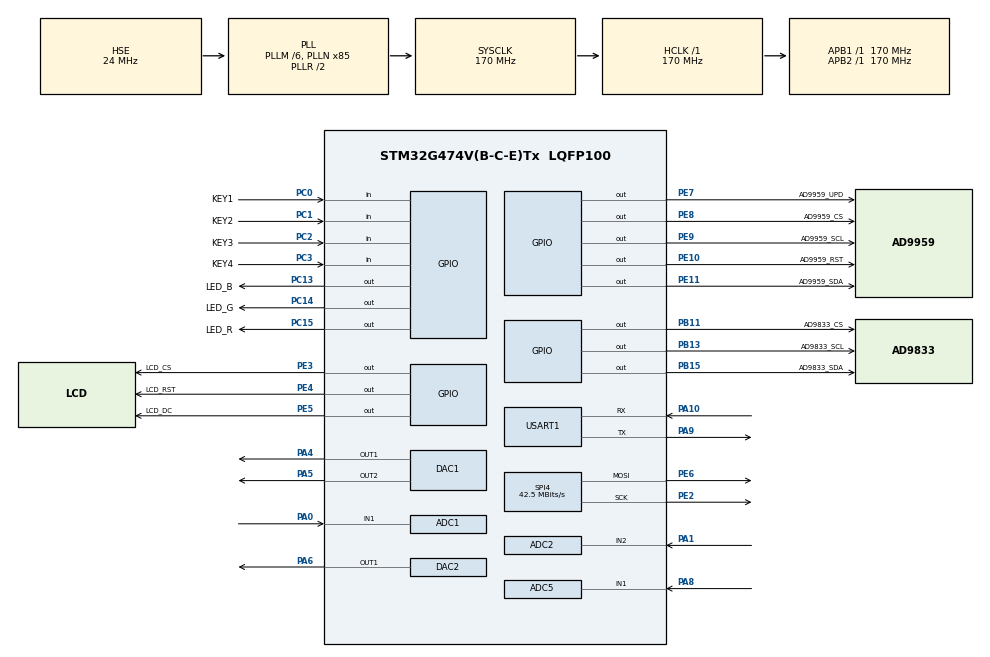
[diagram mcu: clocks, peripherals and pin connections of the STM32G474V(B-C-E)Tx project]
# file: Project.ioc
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ADC1.Channel-0\#ChannelRegularConversion=ADC_CHANNEL_1
ADC1.DMAAccessModeView=ENABLE
ADC1.ExternalTrigConv=ADC_EXTERNALTRIG_T6_TRGO
ADC1.Mode=ADC_DUALMODE_REGSIMULT
ADC1.NbrOfConversionFlag=1
ADC1.OffsetNumber-0\#ChannelRegularConversion=ADC_OFFSET_NONE
ADC1.Rank-0\#ChannelRegularConversion=1
ADC1.SamplingTime-0\#ChannelRegularConversion=ADC_SAMPLETIME_2CYCLES_5
ADC1.master=1
ADC2.Channel-0\#ChannelRegularConversion=ADC_CHANNEL_2
ADC2.DMAAccessModeView=ENABLE
ADC2.Mode=ADC_DUALMODE_REGSIMULT
ADC2.NbrOfConversionFlag=1
ADC2.OffsetNumber-0\#ChannelRegularConversion=ADC_OFFSET_NONE
ADC2.Rank-0\#ChannelRegularConversion=1
ADC2.SamplingTime-0\#ChannelRegularConversion=ADC_SAMPLETIME_2CYCLES_5
ADC5.Channel-0\#ChannelRegularConversion=ADC_CHANNEL_1
ADC5.ExternalTrigConv=ADC_EXTERNALTRIG_T6_TRGO
ADC5.NbrOfConversionFlag=1
ADC5.OffsetNumber-0\#ChannelRegularConversion=ADC_OFFSET_NONE
ADC5.Rank-0\#ChannelRegularConversion=1
ADC5.SamplingTime-0\#ChannelRegularConversion=ADC_SAMPLETIME_2CYCLES_5
DAC1.DAC_Channel-DAC_OUT2=DAC_CHANNEL_2
DAC1.DAC_Trigger_OUT1-DAC_OUT1=DAC_TRIGGER_T7_TRGO
DAC1.DAC_Trigger_OUT2-DAC_OUT2=DAC_TRIGGER_T7_TRGO
DAC2.DAC_Trigger_OUT1-DAC_OUT1=DAC_TRIGGER_T7_TRGO
Dma.ADC1.3.Direction=DMA_PERIPH_TO_MEMORY
Dma.ADC1.3.EventEnable=DISABLE
Dma.ADC1.3.Instance=DMA1_Channel3
Dma.ADC1.3.MemDataAlignment=DMA_MDATAALIGN_WORD
Dma.ADC1.3.MemInc=DMA_MINC_ENABLE
Dma.ADC1.3.Mode=DMA_CIRCULAR
Dma.ADC1.3.PeriphDataAlignment=DMA_PDATAALIGN_WORD
Dma.ADC1.3.PeriphInc=DMA_PINC_DISABLE
Dma.ADC1.3.Polarity=HAL_DMAMUX_REQ_GEN_RISING
Dma.ADC1.3.Priority=DMA_PRIORITY_LOW
Dma.ADC1.3.RequestNumber=1
Dma.ADC1.3.SignalID=NONE
Dma.ADC1.3.SyncEnable=DISABLE
Dma.ADC1.3.SyncPolarity=HAL_DMAMUX_SYNC_NO_EVENT
Dma.ADC1.3.SyncRequestNumber=1
Dma.ADC1.3.SyncSignalID=NONE
Dma.ADC5.4.Direction=DMA_PERIPH_TO_MEMORY
Dma.ADC5.4.EventEnable=DISABLE
Dma.ADC5.4.Instance=DMA1_Channel4
Dma.ADC5.4.MemDataAlignment=DMA_MDATAALIGN_HALFWORD
Dma.ADC5.4.MemInc=DMA_MINC_ENABLE
Dma.ADC5.4.Mode=DMA_CIRCULAR
Dma.ADC5.4.PeriphDataAlignment=DMA_PDATAALIGN_HALFWORD
Dma.ADC5.4.PeriphInc=DMA_PINC_DISABLE
Dma.ADC5.4.Polarity=HAL_DMAMUX_REQ_GEN_RISING
Dma.ADC5.4.Priority=DMA_PRIORITY_LOW
Dma.ADC5.4.RequestNumber=1
Dma.ADC5.4.SignalID=NONE
Dma.ADC5.4.SyncEnable=DISABLE
Dma.ADC5.4.SyncPolarity=HAL_DMAMUX_SYNC_NO_EVENT
Dma.ADC5.4.SyncRequestNumber=1
Dma.ADC5.4.SyncSignalID=NONE
Dma.DAC1_CH1.5.Direction=DMA_MEMORY_TO_PERIPH
Dma.DAC1_CH1.5.EventEnable=DISABLE
Dma.DAC1_CH1.5.Instance=DMA1_Channel5
Dma.DAC1_CH1.5.MemDataAlignment=DMA_MDATAALIGN_WORD
Dma.DAC1_CH1.5.MemInc=DMA_MINC_ENABLE
Dma.DAC1_CH1.5.Mode=DMA_CIRCULAR
Dma.DAC1_CH1.5.PeriphDataAlignment=DMA_PDATAALIGN_WORD
Dma.DAC1_CH1.5.PeriphInc=DMA_PINC_DISABLE
Dma.DAC1_CH1.5.Polarity=HAL_DMAMUX_REQ_GEN_RISING
Dma.DAC1_CH1.5.Priority=DMA_PRIORITY_LOW
Dma.DAC1_CH1.5.RequestNumber=1
Dma.DAC1_CH1.5.SignalID=NONE
Dma.DAC1_CH1.5.SyncEnable=DISABLE
Dma.DAC1_CH1.5.SyncPolarity=HAL_DMAMUX_SYNC_NO_EVENT
Dma.DAC1_CH1.5.SyncRequestNumber=1
Dma.DAC1_CH1.5.SyncSignalID=NONE
Dma.DAC2_CH1.6.Direction=DMA_MEMORY_TO_PERIPH
Dma.DAC2_CH1.6.EventEnable=DISABLE
Dma.DAC2_CH1.6.Instance=DMA1_Channel6
Dma.DAC2_CH1.6.MemDataAlignment=DMA_MDATAALIGN_HALFWORD
Dma.DAC2_CH1.6.MemInc=DMA_MINC_ENABLE
Dma.DAC2_CH1.6.Mode=DMA_CIRCULAR
Dma.DAC2_CH1.6.PeriphDataAlignment=DMA_PDATAALIGN_WORD
Dma.DAC2_CH1.6.PeriphInc=DMA_PINC_DISABLE
Dma.DAC2_CH1.6.Polarity=HAL_DMAMUX_REQ_GEN_RISING
Dma.DAC2_CH1.6.Priority=DMA_PRIORITY_LOW
Dma.DAC2_CH1.6.RequestNumber=1
Dma.DAC2_CH1.6.SignalID=NONE
Dma.DAC2_CH1.6.SyncEnable=DISABLE
Dma.DAC2_CH1.6.SyncPolarity=HAL_DMAMUX_SYNC_NO_EVENT
Dma.DAC2_CH1.6.SyncRequestNumber=1
Dma.DAC2_CH1.6.SyncSignalID=NONE
Dma.Request0=USART1_TX
Dma.Request1=USART1_RX
Dma.Request2=SPI4_TX
Dma.Request3=ADC1
Dma.Request4=ADC5
Dma.Request5=DAC1_CH1
Dma.Request6=DAC2_CH1
Dma.SPI4_TX.2.Direction=DMA_MEMORY_TO_PERIPH
Dma.SPI4_TX.2.EventEnable=DISABLE
Dma.SPI4_TX.2.Instance=DMA2_Channel1
Dma.SPI4_TX.2.MemDataAlignment=DMA_MDATAALIGN_BYTE
Dma.SPI4_TX.2.MemInc=DMA_MINC_ENABLE
Dma.SPI4_TX.2.Mode=DMA_NORMAL
Dma.SPI4_TX.2.PeriphDataAlignment=DMA_PDATAALIGN_BYTE
Dma.SPI4_TX.2.PeriphInc=DMA_PINC_DISABLE
Dma.SPI4_TX.2.Polarity=HAL_DMAMUX_REQ_GEN_RISING
Dma.SPI4_TX.2.Priority=DMA_PRIORITY_LOW
Dma.SPI4_TX.2.RequestNumber=1
Dma.SPI4_TX.2.SignalID=NONE
Dma.SPI4_TX.2.SyncEnable=DISABLE
Dma.SPI4_TX.2.SyncPolarity=HAL_DMAMUX_SYNC_NO_EVENT
Dma.SPI4_TX.2.SyncRequestNumber=1
Dma.SPI4_TX.2.SyncSignalID=NONE
Dma.USART1_RX.1.Direction=DMA_PERIPH_TO_MEMORY
Dma.USART1_RX.1.EventEnable=DISABLE
Dma.USART1_RX.1.Instance=DMA1_Channel2
Dma.USART1_RX.1.MemDataAlignment=DMA_MDATAALIGN_BYTE
Dma.USART1_RX.1.MemInc=DMA_MINC_ENABLE
Dma.USART1_RX.1.Mode=DMA_NORMAL
Dma.USART1_RX.1.PeriphDataAlignment=DMA_PDATAALIGN_BYTE
Dma.USART1_RX.1.PeriphInc=DMA_PINC_DISABLE
Dma.USART1_RX.1.Polarity=HAL_DMAMUX_REQ_GEN_RISING
Dma.USART1_RX.1.Priority=DMA_PRIORITY_LOW
Dma.USART1_RX.1.RequestNumber=1
Dma.USART1_RX.1.SignalID=NONE
Dma.USART1_RX.1.SyncEnable=DISABLE
Dma.USART1_RX.1.SyncPolarity=HAL_DMAMUX_SYNC_NO_EVENT
Dma.USART1_RX.1.SyncRequestNumber=1
Dma.USART1_RX.1.SyncSignalID=NONE
Dma.USART1_TX.0.Direction=DMA_MEMORY_TO_PERIPH
Dma.USART1_TX.0.EventEnable=DISABLE
Dma.USART1_TX.0.Instance=DMA1_Channel1
Dma.USART1_TX.0.MemDataAlignment=DMA_MDATAALIGN_BYTE
Dma.USART1_TX.0.MemInc=DMA_MINC_ENABLE
Dma.USART1_TX.0.Mode=DMA_NORMAL
Dma.USART1_TX.0.PeriphDataAlignment=DMA_PDATAALIGN_BYTE
Dma.USART1_TX.0.PeriphInc=DMA_PINC_DISABLE
Dma.USART1_TX.0.Polarity=HAL_DMAMUX_REQ_GEN_RISING
Dma.USART1_TX.0.Priority=DMA_PRIORITY_LOW
Dma.USART1_TX.0.RequestNumber=1
Dma.USART1_TX.0.SignalID=NONE
Dma.USART1_TX.0.SyncEnable=DISABLE
Dma.USART1_TX.0.SyncPolarity=HAL_DMAMUX_SYNC_NO_EVENT
Dma.USART1_TX.0.SyncRequestNumber=1
Dma.USART1_TX.0.SyncSignalID=NONE
Mcu.Family=STM32G4
Mcu.Name=STM32G474V(B-C-E)Tx
Mcu.Package=LQFP100
NVIC.DMA1_Channel1_IRQn=true\:0\:0\:false\:false\:true\:false\:true\:true
NVIC.DMA1_Channel2_IRQn=true\:0\:0\:false\:false\:true\:false\:true\:true
NVIC.DMA1_Channel3_IRQn=true\:0\:0\:false\:false\:true\:false\:true\:true
NVIC.DMA1_Channel4_IRQn=true\:0\:0\:false\:false\:true\:false\:true\:true
NVIC.DMA1_Channel5_IRQn=true\:0\:0\:false\:false\:true\:false\:true\:true
NVIC.DMA1_Channel6_IRQn=true\:0\:0\:false\:false\:true\:false\:true\:true
NVIC.DMA2_Channel1_IRQn=true\:0\:0\:false\:false\:true\:false\:true\:true
NVIC.PriorityGroup=NVIC_PRIORITYGROUP_4
NVIC.TIM1_TRG_COM_TIM17_IRQn=true\:1\:0\:true\:false\:true\:true\:true\:true
NVIC.USART1_IRQn=true\:0\:0\:false\:false\:true\:false\:true\:true
PA0.Mode=IN1-Single-Ended
PA0.Signal=ADC1_IN1
PA1.Mode=IN2-Single-Ended
PA1.Signal=ADC2_IN2
PA10.Mode=Asynchronous
PA10.Signal=USART1_RX
PA13.Mode=Serial_Wire
PA13.Signal=SYS_JTMS-SWDIO
PA14.Mode=Serial_Wire
PA14.Signal=SYS_JTCK-SWCLK
PA4.Signal=COMP_DAC11_group
PA5.Signal=COMP_DAC12_group
PA6.Signal=COMP_DAC21_group
PA8.Mode=IN1-Single-Ended
PA8.Signal=ADC5_IN1
PA9.Mode=Asynchronous
PA9.Signal=USART1_TX
PB11.GPIO_Label=AD9833_CS
PB11.PinState=GPIO_PIN_SET
PB11.Signal=GPIO_Output
PB13.GPIO_Label=AD9833_SCL
PB13.GPIO_Speed=GPIO_SPEED_FREQ_HIGH
PB13.PinState=GPIO_PIN_SET
PB13.Signal=GPIO_Output
PB15.GPIO_Label=AD9833_SDA
PB15.GPIO_Speed=GPIO_SPEED_FREQ_HIGH
PB15.Signal=GPIO_Output
PC0.GPIO_Label=KEY1
PC0.Signal=GPIO_Input
PC1.GPIO_Label=KEY2
PC1.Signal=GPIO_Input
PC13.GPIO_Label=LED_B
PC13.PinState=GPIO_PIN_SET
PC13.Signal=GPIO_Output
PC14-OSC32_IN.GPIO_Label=LED_G
PC14-OSC32_IN.PinState=GPIO_PIN_SET
PC14-OSC32_IN.Signal=GPIO_Output
PC15-OSC32_OUT.GPIO_Label=LED_R
PC15-OSC32_OUT.PinState=GPIO_PIN_SET
PC15-OSC32_OUT.Signal=GPIO_Output
PC2.GPIO_Label=KEY3
PC2.Signal=GPIO_Input
PC3.GPIO_Label=KEY4
PC3.Signal=GPIO_Input
PE10.GPIO_Label=AD9959_RST
PE10.PinState=GPIO_PIN_SET
PE10.Signal=GPIO_Output
PE11.GPIO_Label=AD9959_SDA
PE11.GPIO_Speed=GPIO_SPEED_FREQ_HIGH
PE11.Signal=GPIO_Output
PE2.GPIO_Speed=GPIO_SPEED_FREQ_HIGH
PE2.Mode=TX_Only_Simplex_Unidirect_Master
PE2.Signal=SPI4_SCK
PE3.GPIO_Label=LCD_CS
PE3.PinState=GPIO_PIN_SET
PE3.Signal=GPIO_Output
PE4.GPIO_Label=LCD_RST
PE4.Signal=GPIO_Output
PE5.GPIO_Label=LCD_DC
PE5.PinState=GPIO_PIN_SET
PE5.Signal=GPIO_Output
PE6.GPIO_Speed=GPIO_SPEED_FREQ_HIGH
PE6.Mode=TX_Only_Simplex_Unidirect_Master
PE6.Signal=SPI4_MOSI
PE7.GPIO_Label=AD9959_UPD
PE7.Signal=GPIO_Output
PE8.GPIO_Label=AD9959_CS
PE8.PinState=GPIO_PIN_SET
PE8.Signal=GPIO_Output
PE9.GPIO_Label=AD9959_SCL
PE9.GPIO_Speed=GPIO_SPEED_FREQ_HIGH
PE9.Signal=GPIO_Output
PF0-OSC_IN.Mode=HSE-External-Oscillator
PF0-OSC_IN.Signal=RCC_OSC_IN
PF1-OSC_OUT.Mode=HSE-External-Oscillator
PF1-OSC_OUT.Signal=RCC_OSC_OUT
ProjectManager.HeapSize=0x200
ProjectManager.StackSize=0x1000
ProjectManager.TargetToolchain=MDK-ARM V5.32
RCC.ADC12Freq_Value=170000000
RCC.ADC345Freq_Value=170000000
RCC.AHBFreq_Value=170000000
RCC.APB1Freq_Value=170000000
RCC.APB1TimFreq_Value=170000000
RCC.APB2Freq_Value=170000000
RCC.APB2TimFreq_Value=170000000
RCC.CortexFreq_Value=170000000
RCC.EXTERNAL_CLOCK_VALUE=12288000
RCC.HCLKFreq_Value=170000000
RCC.HSE_VALUE=24000000
RCC.HSI48_VALUE=48000000
RCC.HSI_VALUE=16000000
RCC.LSE_VALUE=32768
RCC.PLLM=RCC_PLLM_DIV6
RCC.PLLN=85
RCC.PLLSourceVirtual=RCC_PLLSOURCE_HSE
RCC.SYSCLKFreq_VALUE=170000000
RCC.SYSCLKSource=RCC_SYSCLKSOURCE_PLLCLK
RCC.USBFreq_Value=170000000
RCC.VCOOutputFreq_Value=340000000
SH.COMP_DAC11_group.0=DAC1_OUT1,DAC_OUT1
SH.COMP_DAC12_group.0=DAC1_OUT2,DAC_OUT2
SH.COMP_DAC21_group.0=DAC2_OUT1,DAC_OUT1
SPI4.BaudRatePrescaler=SPI_BAUDRATEPRESCALER_4
SPI4.CalculateBaudRate=42.5 MBits/s
SPI4.DataSize=SPI_DATASIZE_8BIT
SPI4.Direction=SPI_DIRECTION_2LINES
SPI4.Mode=SPI_MODE_MASTER
SPI4.VirtualType=VM_MASTER
TIM17.PeriodNoDither=9999
TIM17.Prescaler=169
TIM6.PeriodNoDither=169
TIM6.TIM_MasterOutputTrigger=TIM_TRGO_UPDATE
TIM7.PeriodNoDither=169
TIM7.TIM_MasterOutputTrigger=TIM_TRGO_UPDATE
USART1.VirtualMode-Asynchronous=VM_ASYNC
VP_SYS_VS_DBSignals.Mode=DisableDeadBatterySignals
VP_TIM17_VS_ClockSourceINT.Mode=Enable_Timer
VP_TIM6_VS_ClockSourceINT.Mode=Enable_Timer
VP_TIM7_VS_ClockSourceINT.Mode=Enable_Timer
board=custom

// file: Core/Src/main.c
/* USER CODE BEGIN Header */
/**
  ******************************************************************************
  * @file           : main.c
  * @brief          : Main program body
  ******************************************************************************
  * @attention
  *
  * Copyright (c) 2024 STMicroelectronics.
  * All rights reserved.
  *
  * This software is licensed under terms that can be found in the LICENSE file
  * in the root directory of this software component.
  * If no LICENSE file comes with this software, it is provided AS-IS.
  *
  ******************************************************************************
  */
/* USER CODE END Header */
#include "main.h"
#include "adc.h"
#include "dac.h"
#include "dma.h"
#include "spi.h"
#include "tim.h"
#include "usart.h"
#include "gpio.h"

/* USER CODE BEGIN Includes */
#include "lcd.h"
#include "fir.h"
#include "fft.h"
#include "ad9833.h"
#include "ad9959.h"

/* USER CODE END Includes */

/* USER CODE BEGIN PV */
myUART_HandleTypeDef myUART = { .huart = &huart1 };
myADC_HandleTypeDef myADC = { .hadc = &hadc5, .htim = &htim6, .ConvFinish = false };
myDAC_HandleTypeDef myDAC = { .hdac = &hdac2, .htim = &htim7, .channel = DAC_CHANNEL_1 };
myDualADC_HandleTypeDef myDualADC = { .hadc_master = &hadc1, .hadc_slave = &hadc2, .htim = &htim6, .ConvFinish = false };
myDualDAC_HandleTypeDef myDualDAC = { .hdac = &hdac1, .htim = &htim7 };

/* USER CODE END PV */

void SystemClock_Config(void);
/* USER CODE BEGIN PFP */
void Key_Process(uint8_t keyNum);

/* USER CODE END PFP */

/* USER CODE BEGIN 0 */
void HAL_UARTEx_RxEventCallback(UART_HandleTypeDef *huart, uint16_t Size)
{
	if (huart == myUART.huart && huart->RxEventType != HAL_UART_RXEVENT_HT)
	{
		myUART_Transmit_DMA(&myUART, "RxMsg: %s", myUART.RxMsg);
		myUART_Start_Receive_DMA(&myUART);
	}
}

void HAL_TIM_PeriodElapsedCallback(TIM_HandleTypeDef *htim)
{
	if (htim == &htim17)
	{
		Key_Process(Key_Read());
	}
}

void HAL_ADC_ConvCpltCallback(ADC_HandleTypeDef *hadc)
{
	if (hadc == myADC.hadc)
	{
		myADC_Stop_DMA(&myADC);
		myADC.ConvFinish = true;
	}
	else if (hadc == myDualADC.hadc_master)
	{
		myADC_DualStop_DMA(&myDualADC);
		myDualADC.ConvFinish = true;
	}
}

/* USER CODE END 0 */

int main(void)
{

  /* MCU Configuration--------------------------------------------------------*/

  /* Reset of all peripherals, Initializes the Flash interface and the Systick. */
  HAL_Init();

  /* Configure the system clock */
  SystemClock_Config();

  /* Initialize all configured peripherals */
  MX_GPIO_Init();
  MX_DMA_Init();
  MX_USART1_UART_Init();
  MX_SPI4_Init();
  MX_TIM17_Init();
  MX_TIM6_Init();
  MX_TIM7_Init();
  MX_ADC1_Init();
  MX_ADC2_Init();
  MX_ADC5_Init();
  MX_DAC1_Init();
  MX_DAC2_Init();
  /* USER CODE BEGIN 2 */
  LCD_Init();
  LCD_ClearAll(RED);	HAL_Delay(200);
  LCD_ClearAll(ORANGE);	HAL_Delay(200);
  LCD_ClearAll(YELLOW);	HAL_Delay(200);
  LCD_ClearAll(GREEN);	HAL_Delay(200);
  LCD_ClearAll(BLUE);	HAL_Delay(200);
  LCD_ClearAll(PURPLE);	HAL_Delay(200);
  LCD_ClearAll(WHITE);	HAL_Delay(200);
  LCD_ShowString(16, 16, 32, 0, BLACK, WHITE, "Penguins");
  LCD_ShowString(16, 48, 24, 0, BLACK, WHITE, "Penguins");
  LCD_ShowString(16, 72, 16, 0, BLACK, WHITE, "Penguins");
  LCD_ShowString(16, 88, 12, 0, BLACK, WHITE, "Penguins");

  myUART_Transmit_DMA(&myUART, "G474VET6 UART1 Connected.\n");
  myUART_Transmit_DMA(&myUART, "Continuous sending test.\n");
  myUART_Start_Receive_DMA(&myUART);
  HAL_TIM_Base_Start_IT(&htim17);

  /* USER CODE END 2 */

  /* Infinite loop */
  /* USER CODE BEGIN WHILE */
  while (1)
  {
	if (myADC.ConvFinish == true)
	{
		for (uint16_t i = 0; i < ADC_DataSize; ++i)
			myUART_Transmit_DMA(&myUART, "ADC[%d]: %d\n", i, myADC.pData[i]);
		myADC.ConvFinish = false;
	}
	if (myDualADC.ConvFinish == true)
	{
		for (uint16_t i = 0; i < ADC_DataSize; ++i)
			myUART_Transmit_DMA(&myUART, "ADC[%d]: %d, %d\n", i, myDualADC.pData[i] & 0xFFFF, myDualADC.pData[i] >> 16);
		myDualADC.ConvFinish = false;
	}

    /* USER CODE END WHILE */

  }
}

void SystemClock_Config(void)
{
  RCC_OscInitTypeDef RCC_OscInitStruct = {0};
  RCC_ClkInitTypeDef RCC_ClkInitStruct = {0};

  /** Configure the main internal regulator output voltage
  */
  HAL_PWREx_ControlVoltageScaling(PWR_REGULATOR_VOLTAGE_SCALE1_BOOST);

  /** Initializes the RCC Oscillators according to the specified parameters
  * in the RCC_OscInitTypeDef structure.
  */
  RCC_OscInitStruct.OscillatorType = RCC_OSCILLATORTYPE_HSE;
  RCC_OscInitStruct.HSEState = RCC_HSE_ON;
  RCC_OscInitStruct.PLL.PLLState = RCC_PLL_ON;
  RCC_OscInitStruct.PLL.PLLSource = RCC_PLLSOURCE_HSE;
  RCC_OscInitStruct.PLL.PLLM = RCC_PLLM_DIV6;
  RCC_OscInitStruct.PLL.PLLN = 85;
  RCC_OscInitStruct.PLL.PLLP = RCC_PLLP_DIV2;
  RCC_OscInitStruct.PLL.PLLQ = RCC_PLLQ_DIV2;
  RCC_OscInitStruct.PLL.PLLR = RCC_PLLR_DIV2;
  if (HAL_RCC_OscConfig(&RCC_OscInitStruct) != HAL_OK)
  {
    Error_Handler();
  }

  /** Initializes the CPU, AHB and APB buses clocks
  */
  RCC_ClkInitStruct.ClockType = RCC_CLOCKTYPE_HCLK|RCC_CLOCKTYPE_SYSCLK
                              |RCC_CLOCKTYPE_PCLK1|RCC_CLOCKTYPE_PCLK2;
  RCC_ClkInitStruct.SYSCLKSource = RCC_SYSCLKSOURCE_PLLCLK;
  RCC_ClkInitStruct.AHBCLKDivider = RCC_SYSCLK_DIV1;
  RCC_ClkInitStruct.APB1CLKDivider = RCC_HCLK_DIV1;
  RCC_ClkInitStruct.APB2CLKDivider = RCC_HCLK_DIV1;

  if (HAL_RCC_ClockConfig(&RCC_ClkInitStruct, FLASH_LATENCY_4) != HAL_OK)
  {
    Error_Handler();
  }
}

/* USER CODE BEGIN 4 */
void Key_Process(uint8_t keyNum)
{
	switch (keyNum)
	{
		case 0x01:
			LED_R_Set(0), LED_G_Set(0), LED_B_Set(0);
			myDAC_Start_DMA(&myDAC);
			break;
		case 0x02:
			LED_R_Set(0), LED_G_Set(0), LED_B_Set(1);
			myDAC_DualStart_DMA(&myDualDAC);
			break;
		case 0x03:
			LED_R_Set(0), LED_G_Set(1), LED_B_Set(0);
			myADC_Start_DMA(&myADC);
			break;
		case 0x04:
			LED_R_Set(0), LED_G_Set(1), LED_B_Set(1);
			myADC_DualStart_DMA(&myDualADC);
			break;
		case 0x81:
			LED_R_Set(1), LED_G_Set(0), LED_B_Set(0);
			myDAC_Stop_DMA(&myDAC);
			break;
		case 0x82:
			LED_R_Set(1), LED_G_Set(0), LED_B_Set(1);
			myDAC_DualStop_DMA(&myDualDAC);
			break;
		case 0x83:
			LED_R_Set(1), LED_G_Set(1), LED_B_Set(0);
			__HAL_TIM_SET_AUTORELOAD(&htim7, 169);
			break;
		case 0x84:
			LED_R_Set(1), LED_G_Set(1), LED_B_Set(1);
			__HAL_TIM_SET_AUTORELOAD(&htim7, 84);
			break;
	}
}

/* USER CODE END 4 */

void Error_Handler(void)
{
  __disable_irq();
  while (1)
  {
  }
}
